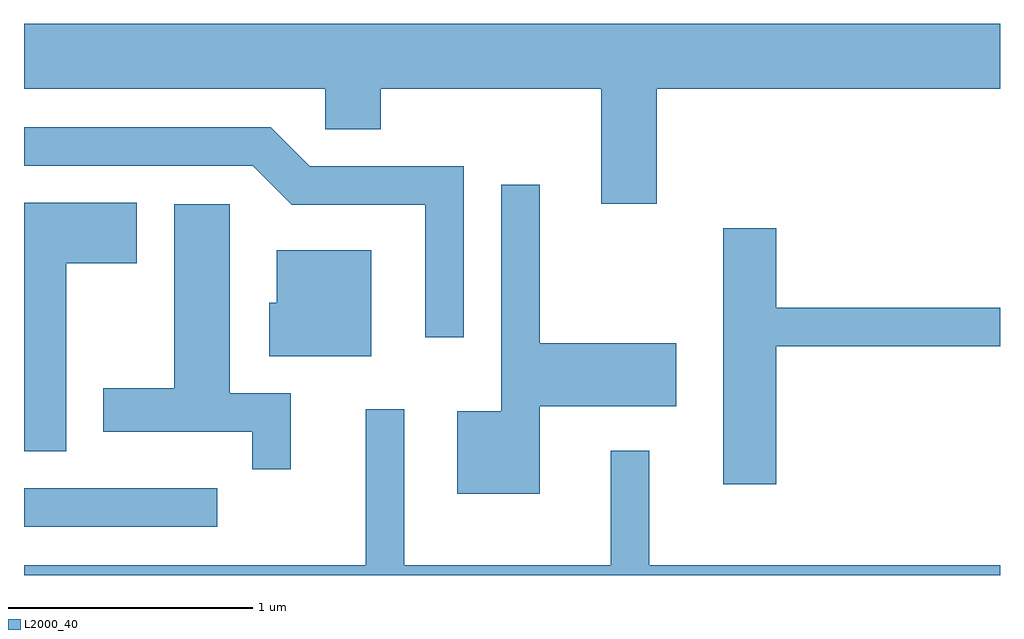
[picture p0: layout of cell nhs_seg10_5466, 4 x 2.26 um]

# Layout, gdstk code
import gdstk
lib = gdstk.Library(unit=1e-6, precision=1e-09)
def R(c, l, rs):  # rectangles x0, y0, x1, y1
    for r in rs: c.add(gdstk.rectangle(r[:2], r[2:], *l))
def P(c, l, *ps):  # polygons
    for p in ps: c.add(gdstk.Polygon(p, *l))
L2000_40 = (2000, 40)

nhs_seg10_5466 = lib.new_cell('nhs_seg10_5466')
R(nhs_seg10_5466, L2000_40, [(345.611,2178.721,346.403,2178.879)])
P(nhs_seg10_5466, L2000_40, [(348.204,2180.516),(349.611,2180.516),(349.611,2180.784),(345.611,2180.784),(345.611,2180.516),(346.846,2180.516),(346.846,2180.351),(347.074,2180.351),(347.074,2180.516),(347.976,2180.516),(347.976,2180.046),(348.204,2180.046)],
  [(347.414,2180.199),(346.782,2180.199),(346.622,2180.359),(345.611,2180.359),(345.611,2180.201),(346.549,2180.201),(346.709,2180.041),(347.256,2180.041),(347.256,2179.498),(347.414,2179.498)],
  [(347.724,2179.216),(348.284,2179.216),(348.284,2179.474),(347.724,2179.474),(347.724,2180.123),(347.566,2180.123),(347.566,2179.194),(347.386,2179.194),(347.386,2178.856),(347.724,2178.856)],
  [(345.784,2179.801),(346.074,2179.801),(346.074,2180.049),(345.611,2180.049),(345.611,2179.031),(345.784,2179.031)],
  [(346.704,2179.269),(346.454,2179.269),(346.454,2180.044),(346.226,2180.044),(346.226,2179.289),(345.936,2179.289),(345.936,2179.111),(346.546,2179.111),(346.546,2178.958),(346.704,2178.958)],
  [(348.694,2179.461),(349.611,2179.461),(349.611,2179.619),(348.694,2179.619),(348.694,2179.944),(348.476,2179.944),(348.476,2178.896),(348.694,2178.896)],
  [(347.034,2179.854),(346.646,2179.854),(346.646,2179.639),(346.616,2179.639),(346.616,2179.421),(347.034,2179.421)],
  [(349.611,2178.564),(348.174,2178.564),(348.174,2179.033),(348.016,2179.033),(348.016,2178.564),(347.169,2178.564),(347.169,2179.203),(347.011,2179.203),(347.011,2178.564),(345.611,2178.564),(345.611,2178.522),(349.611,2178.522)])

lib.write_gds('nhs_seg10_5466.gds')
